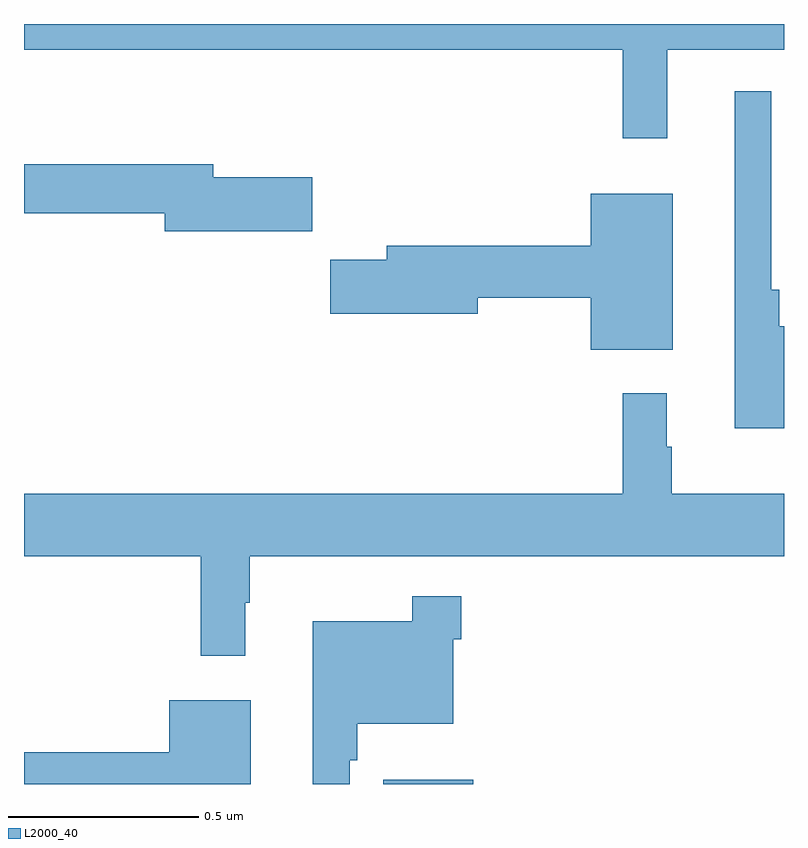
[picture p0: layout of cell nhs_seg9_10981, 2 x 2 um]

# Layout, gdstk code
import gdstk
lib = gdstk.Library(unit=1e-6, precision=1e-09)
def R(c, l, rs):  # rectangles x0, y0, x1, y1
    for r in rs: c.add(gdstk.rectangle(r[:2], r[2:], *l))
def P(c, l, *ps):  # polygons
    for p in ps: c.add(gdstk.Polygon(p, *l))
L2000_40 = (2000, 40)

nhs_seg9_10981 = lib.new_cell('nhs_seg9_10981')
R(nhs_seg9_10981, L2000_40, [(250.946,1182.5,251.182,1182.511)])
P(nhs_seg9_10981, L2000_40, [(251.693,1184.432),(252,1184.432),(252,1184.5),(250,1184.5),(250,1184.432),(251.575,1184.432),(251.575,1184.199),(251.693,1184.199)],
  [(252,1183.705),(251.987,1183.705),(251.987,1183.801),(251.967,1183.801),(251.967,1184.323),(251.87,1184.323),(251.87,1183.436),(252,1183.436)],
  [(250.759,1184.097),(250.498,1184.097),(250.498,1184.131),(250,1184.131),(250,1184.002),(250.37,1184.002),(250.37,1183.955),(250.759,1183.955)],
  [(251.707,1184.053),(251.492,1184.053),(251.492,1183.916),(250.955,1183.916),(250.955,1183.88),(250.806,1183.88),(250.806,1183.738),(251.194,1183.738),(251.194,1183.78),(251.492,1183.78),(251.492,1183.643),(251.707,1183.643)],
  [(250.582,1182.977),(250.594,1182.977),(250.594,1183.1),(252,1183.1),(252,1183.264),(251.704,1183.264),(251.704,1183.388),(251.692,1183.388),(251.692,1183.528),(251.575,1183.528),(251.575,1183.264),(250,1183.264),(250,1183.1),(250.465,1183.1),(250.465,1182.837),(250.582,1182.837)],
  [(250.857,1182.563),(250.877,1182.563),(250.877,1182.659),(251.13,1182.659),(251.13,1182.881),(251.15,1182.881),(251.15,1182.994),(251.022,1182.994),(251.022,1182.928),(250.76,1182.928),(250.76,1182.5),(250.857,1182.5)],
  [(250.597,1182.721),(250.382,1182.721),(250.382,1182.584),(250,1182.584),(250,1182.5),(250.597,1182.5)])

lib.write_gds('nhs_seg9_10981.gds')
